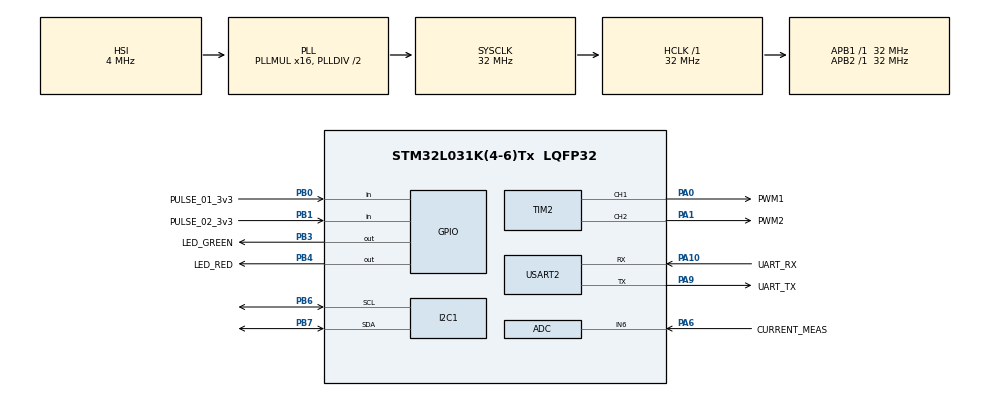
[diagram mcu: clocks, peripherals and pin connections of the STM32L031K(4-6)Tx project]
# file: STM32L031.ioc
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I2C1.Timing=0x00707CBB
Mcu.Family=STM32L0
Mcu.Name=STM32L031K(4-6)Tx
Mcu.Package=LQFP32
NVIC.USART2_IRQn=true\:0\:0\:false\:false\:true\:true\:true\:true
PA0-CK_IN.GPIO_Label=PWM1
PA0-CK_IN.Signal=S_TIM2_CH1
PA1.GPIO_Label=PWM2
PA1.Signal=S_TIM2_CH2
PA10.GPIO_Label=UART_RX
PA10.Mode=Asynchronous
PA10.Signal=USART2_RX
PA13.Mode=Serial_Wire
PA13.Signal=SYS_SWDIO
PA14.Mode=Serial_Wire
PA14.Signal=SYS_SWCLK
PA6.GPIO_Label=CURRENT_MEAS
PA6.Mode=IN6
PA6.Signal=ADC_IN6
PA9.GPIO_Label=UART_TX
PA9.Mode=Asynchronous
PA9.Signal=USART2_TX
PB0.GPIO_Label=PULSE_01_3v3
PB0.Signal=GPIO_Input
PB1.GPIO_Label=PULSE_02_3v3
PB1.Signal=GPIO_Input
PB3.GPIO_Label=LED_GREEN
PB3.Signal=GPIO_Output
PB4.GPIO_Label=LED_RED
PB4.Signal=GPIO_Output
PB6.Mode=I2C
PB6.Signal=I2C1_SCL
PB7.Mode=I2C
PB7.Signal=I2C1_SDA
PC14-OSC32_IN.Mode=LSE-External-Oscillator
PC14-OSC32_IN.Signal=RCC_OSC32_IN
PC15-OSC32_OUT.Mode=LSE-External-Oscillator
PC15-OSC32_OUT.Signal=RCC_OSC32_OUT
ProjectManager.HeapSize=0x200
ProjectManager.StackSize=0x400
ProjectManager.TargetToolchain=STM32CubeIDE
RCC.ADCFreq_Value=4000000
RCC.AHBFreq_Value=32000000
RCC.APB1Freq_Value=32000000
RCC.APB1TimFreq_Value=32000000
RCC.APB2Freq_Value=32000000
RCC.APB2TimFreq_Value=32000000
RCC.HCLKFreq_Value=32000000
RCC.HSE_VALUE=8000000
RCC.HSI16_VALUE=16000000
RCC.HSIRCDiv=4
RCC.HSI_VALUE=4000000
RCC.MSI_VALUE=2097000
RCC.PLLMUL=RCC_PLLMUL_16
RCC.SYSCLKFreq_VALUE=32000000
RCC.SYSCLKSource=RCC_SYSCLKSOURCE_PLLCLK
RCC.VCOOutputFreq_Value=64000000
SH.S_TIM2_CH1.0=TIM2_CH1,PWM Generation1 CH1
SH.S_TIM2_CH2.0=TIM2_CH2,PWM Generation2 CH2
TIM2.Channel-PWM\ Generation1\ CH1=TIM_CHANNEL_1
TIM2.Channel-PWM\ Generation2\ CH2=TIM_CHANNEL_2
USART2.VirtualMode-Asynchronous=VM_ASYNC
board=custom

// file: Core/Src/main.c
/* USER CODE BEGIN Header */
/**
  ******************************************************************************
  * @file           : main.c
  * @brief          : Main program body
  ******************************************************************************
  * @attention
  *
  * <h2><center>&copy; Copyright (c) 2025 STMicroelectronics.
  * All rights reserved.</center></h2>
  *
  * This software component is licensed by ST under BSD 3-Clause license,
  * the "License"; You may not use this file except in compliance with the
  * License. You may obtain a copy of the License at:
  *                        opensource.org/licenses/BSD-3-Clause
  *
  ******************************************************************************
  */
/* USER CODE END Header */
#include "main.h"

/* USER CODE BEGIN Includes */
#include "mode_handler.h"
#include "config_handler.h"
#include "timer.h"
#include "uart_handler.h"
/* USER CODE END Includes */

ADC_HandleTypeDef hadc;

I2C_HandleTypeDef hi2c1;

TIM_HandleTypeDef htim2;

UART_HandleTypeDef huart2;

void SystemClock_Config(void);
static void MX_GPIO_Init(void);
static void MX_ADC_Init(void);
static void MX_I2C1_Init(void);
static void MX_TIM2_Init(void);
static void MX_USART2_UART_Init(void);

int main(void)
{

  /* MCU Configuration--------------------------------------------------------*/

  /* Reset of all peripherals, Initializes the Flash interface and the Systick. */
  HAL_Init();

  /* Configure the system clock */
  SystemClock_Config();

  /* Initialize all configured peripherals */
  MX_GPIO_Init();
  MX_ADC_Init();
  MX_I2C1_Init();
  MX_TIM2_Init();
  MX_USART2_UART_Init();
  /* USER CODE BEGIN 2 */
  HAL_Delay(5);
  init_timers();
  init_uart();

  /* USER CODE END 2 */

  /* Infinite loop */
  while (1)
  {

    /* USER CODE BEGIN 3 */
    switch(get_controller_mode())
    {
        case CONTROLLER_MODE_OFF:
        {

        }
        break;
        case CONTROLLER_MODE_MEASURING:
        {

        }
        break;
        case CONTROLLER_MODE_CONFIG:
        {
            handle_config_state();
        }
        break;
        default:
        {

        }
        break;
    }
    /*
    if(timer_ready(GREEN_LED_TIMER))
    {
        toggle_led(LED_GREEN_GPIO_Port, LED_GREEN_Pin);
    }
    if(timer_ready(RED_LED_TIMER))
    {
        toggle_led(LED_RED_GPIO_Port, LED_RED_Pin);
    }
    if(timer_ready(UART_TIMER))
    {
        char* msg = "test123";
        send_uart_msg(msg, 7);
    }
    */

  }
  /* USER CODE END 3 */
}

void SystemClock_Config(void)
{
  RCC_OscInitTypeDef RCC_OscInitStruct = {0};
  RCC_ClkInitTypeDef RCC_ClkInitStruct = {0};
  RCC_PeriphCLKInitTypeDef PeriphClkInit = {0};

  /** Configure the main internal regulator output voltage
  */
  __HAL_PWR_VOLTAGESCALING_CONFIG(PWR_REGULATOR_VOLTAGE_SCALE1);
  /** Initializes the RCC Oscillators according to the specified parameters
  * in the RCC_OscInitTypeDef structure.
  */
  RCC_OscInitStruct.OscillatorType = RCC_OSCILLATORTYPE_HSI;
  RCC_OscInitStruct.HSIState = RCC_HSI_DIV4;
  RCC_OscInitStruct.HSICalibrationValue = RCC_HSICALIBRATION_DEFAULT;
  RCC_OscInitStruct.PLL.PLLState = RCC_PLL_ON;
  RCC_OscInitStruct.PLL.PLLSource = RCC_PLLSOURCE_HSI;
  RCC_OscInitStruct.PLL.PLLMUL = RCC_PLLMUL_16;
  RCC_OscInitStruct.PLL.PLLDIV = RCC_PLLDIV_2;
  if (HAL_RCC_OscConfig(&RCC_OscInitStruct) != HAL_OK)
  {
    Error_Handler();
  }
  /** Initializes the CPU, AHB and APB buses clocks
  */
  RCC_ClkInitStruct.ClockType = RCC_CLOCKTYPE_HCLK|RCC_CLOCKTYPE_SYSCLK
                              |RCC_CLOCKTYPE_PCLK1|RCC_CLOCKTYPE_PCLK2;
  RCC_ClkInitStruct.SYSCLKSource = RCC_SYSCLKSOURCE_PLLCLK;
  RCC_ClkInitStruct.AHBCLKDivider = RCC_SYSCLK_DIV1;
  RCC_ClkInitStruct.APB1CLKDivider = RCC_HCLK_DIV1;
  RCC_ClkInitStruct.APB2CLKDivider = RCC_HCLK_DIV1;

  if (HAL_RCC_ClockConfig(&RCC_ClkInitStruct, FLASH_LATENCY_1) != HAL_OK)
  {
    Error_Handler();
  }
  PeriphClkInit.PeriphClockSelection = RCC_PERIPHCLK_USART2|RCC_PERIPHCLK_I2C1;
  PeriphClkInit.Usart2ClockSelection = RCC_USART2CLKSOURCE_PCLK1;
  PeriphClkInit.I2c1ClockSelection = RCC_I2C1CLKSOURCE_PCLK1;
  if (HAL_RCCEx_PeriphCLKConfig(&PeriphClkInit) != HAL_OK)
  {
    Error_Handler();
  }
}

static void MX_ADC_Init(void)
{

  ADC_ChannelConfTypeDef sConfig = {0};

  /** Configure the global features of the ADC (Clock, Resolution, Data Alignment and number of conversion)
  */
  hadc.Instance = ADC1;
  hadc.Init.OversamplingMode = DISABLE;
  hadc.Init.ClockPrescaler = ADC_CLOCK_SYNC_PCLK_DIV2;
  hadc.Init.Resolution = ADC_RESOLUTION_12B;
  hadc.Init.SamplingTime = ADC_SAMPLETIME_1CYCLE_5;
  hadc.Init.ScanConvMode = ADC_SCAN_DIRECTION_FORWARD;
  hadc.Init.DataAlign = ADC_DATAALIGN_RIGHT;
  hadc.Init.ContinuousConvMode = DISABLE;
  hadc.Init.DiscontinuousConvMode = DISABLE;
  hadc.Init.ExternalTrigConvEdge = ADC_EXTERNALTRIGCONVEDGE_NONE;
  hadc.Init.ExternalTrigConv = ADC_SOFTWARE_START;
  hadc.Init.DMAContinuousRequests = DISABLE;
  hadc.Init.EOCSelection = ADC_EOC_SINGLE_CONV;
  hadc.Init.Overrun = ADC_OVR_DATA_PRESERVED;
  hadc.Init.LowPowerAutoWait = DISABLE;
  hadc.Init.LowPowerFrequencyMode = DISABLE;
  hadc.Init.LowPowerAutoPowerOff = DISABLE;
  if (HAL_ADC_Init(&hadc) != HAL_OK)
  {
    Error_Handler();
  }
  /** Configure for the selected ADC regular channel to be converted.
  */
  sConfig.Channel = ADC_CHANNEL_6;
  sConfig.Rank = ADC_RANK_CHANNEL_NUMBER;
  if (HAL_ADC_ConfigChannel(&hadc, &sConfig) != HAL_OK)
  {
    Error_Handler();
  }

}

static void MX_I2C1_Init(void)
{

  hi2c1.Instance = I2C1;
  hi2c1.Init.Timing = 0x00707CBB;
  hi2c1.Init.OwnAddress1 = 0;
  hi2c1.Init.AddressingMode = I2C_ADDRESSINGMODE_7BIT;
  hi2c1.Init.DualAddressMode = I2C_DUALADDRESS_DISABLE;
  hi2c1.Init.OwnAddress2 = 0;
  hi2c1.Init.OwnAddress2Masks = I2C_OA2_NOMASK;
  hi2c1.Init.GeneralCallMode = I2C_GENERALCALL_DISABLE;
  hi2c1.Init.NoStretchMode = I2C_NOSTRETCH_DISABLE;
  if (HAL_I2C_Init(&hi2c1) != HAL_OK)
  {
    Error_Handler();
  }
  /** Configure Analogue filter
  */
  if (HAL_I2CEx_ConfigAnalogFilter(&hi2c1, I2C_ANALOGFILTER_ENABLE) != HAL_OK)
  {
    Error_Handler();
  }
  /** Configure Digital filter
  */
  if (HAL_I2CEx_ConfigDigitalFilter(&hi2c1, 0) != HAL_OK)
  {
    Error_Handler();
  }

}

static void MX_TIM2_Init(void)
{

  TIM_MasterConfigTypeDef sMasterConfig = {0};
  TIM_OC_InitTypeDef sConfigOC = {0};

  htim2.Instance = TIM2;
  htim2.Init.Prescaler = 0;
  htim2.Init.CounterMode = TIM_COUNTERMODE_UP;
  htim2.Init.Period = 65535;
  htim2.Init.ClockDivision = TIM_CLOCKDIVISION_DIV1;
  htim2.Init.AutoReloadPreload = TIM_AUTORELOAD_PRELOAD_DISABLE;
  if (HAL_TIM_PWM_Init(&htim2) != HAL_OK)
  {
    Error_Handler();
  }
  sMasterConfig.MasterOutputTrigger = TIM_TRGO_RESET;
  sMasterConfig.MasterSlaveMode = TIM_MASTERSLAVEMODE_DISABLE;
  if (HAL_TIMEx_MasterConfigSynchronization(&htim2, &sMasterConfig) != HAL_OK)
  {
    Error_Handler();
  }
  sConfigOC.OCMode = TIM_OCMODE_PWM1;
  sConfigOC.Pulse = 0;
  sConfigOC.OCPolarity = TIM_OCPOLARITY_HIGH;
  sConfigOC.OCFastMode = TIM_OCFAST_DISABLE;
  if (HAL_TIM_PWM_ConfigChannel(&htim2, &sConfigOC, TIM_CHANNEL_1) != HAL_OK)
  {
    Error_Handler();
  }
  if (HAL_TIM_PWM_ConfigChannel(&htim2, &sConfigOC, TIM_CHANNEL_2) != HAL_OK)
  {
    Error_Handler();
  }
  HAL_TIM_MspPostInit(&htim2);

}

static void MX_USART2_UART_Init(void)
{

  huart2.Instance = USART2;
  huart2.Init.BaudRate = 115200;
  huart2.Init.WordLength = UART_WORDLENGTH_8B;
  huart2.Init.StopBits = UART_STOPBITS_1;
  huart2.Init.Parity = UART_PARITY_NONE;
  huart2.Init.Mode = UART_MODE_TX_RX;
  huart2.Init.HwFlowCtl = UART_HWCONTROL_NONE;
  huart2.Init.OverSampling = UART_OVERSAMPLING_16;
  huart2.Init.OneBitSampling = UART_ONE_BIT_SAMPLE_DISABLE;
  huart2.AdvancedInit.AdvFeatureInit = UART_ADVFEATURE_NO_INIT;
  if (HAL_UART_Init(&huart2) != HAL_OK)
  {
    Error_Handler();
  }

}

static void MX_GPIO_Init(void)
{
  GPIO_InitTypeDef GPIO_InitStruct = {0};

  /* GPIO Ports Clock Enable */
  __HAL_RCC_GPIOC_CLK_ENABLE();
  __HAL_RCC_GPIOA_CLK_ENABLE();
  __HAL_RCC_GPIOB_CLK_ENABLE();

  /*Configure GPIO pin Output Level */
  HAL_GPIO_WritePin(GPIOB, LED_GREEN_Pin|LED_RED_Pin, GPIO_PIN_RESET);

  /*Configure GPIO pins : PULSE_01_3v3_Pin PULSE_02_3v3_Pin */
  GPIO_InitStruct.Pin = PULSE_01_3v3_Pin|PULSE_02_3v3_Pin;
  GPIO_InitStruct.Mode = GPIO_MODE_INPUT;
  GPIO_InitStruct.Pull = GPIO_NOPULL;
  HAL_GPIO_Init(GPIOB, &GPIO_InitStruct);

  /*Configure GPIO pins : LED_GREEN_Pin LED_RED_Pin */
  GPIO_InitStruct.Pin = LED_GREEN_Pin|LED_RED_Pin;
  GPIO_InitStruct.Mode = GPIO_MODE_OUTPUT_PP;
  GPIO_InitStruct.Pull = GPIO_NOPULL;
  GPIO_InitStruct.Speed = GPIO_SPEED_FREQ_LOW;
  HAL_GPIO_Init(GPIOB, &GPIO_InitStruct);

}

void Error_Handler(void)
{
  __disable_irq();
  while (1)
  {
  }
}

/************************ (C) COPYRIGHT STMicroelectronics *****END OF FILE****/
